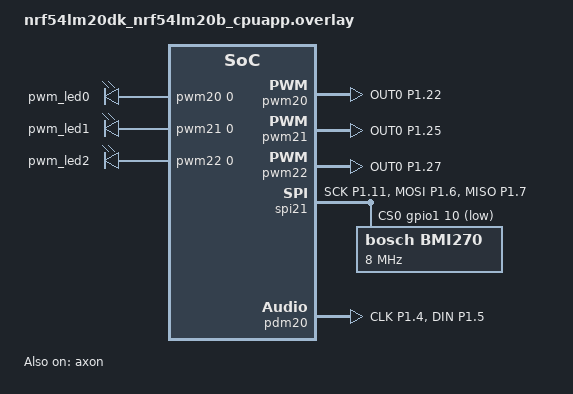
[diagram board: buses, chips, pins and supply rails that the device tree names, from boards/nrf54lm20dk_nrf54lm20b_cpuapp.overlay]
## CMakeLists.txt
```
cmake_minimum_required(VERSION 3.20.0)

find_package(Zephyr REQUIRED HINTS $ENV{ZEPHYR_BASE})
project(game_controller)

target_sources(app PRIVATE
  src/main.c
  src/hw_modules/button.c
  src/gesture/imu/imu.c

  src/ble/ble_nus.c

  src/engine/engine_controller.c
  src/engine/kws_engine.c
  src/engine/gesture_engine.c

  src/gesture/gesture.c
  src/gesture/inference_postprocessing.c
  src/gesture/nrf_edgeai_generated/nrf54lm20dk/Axon/nrf_edgeai_user_model.c

  src/kws/dmic.c
  src/kws/kws.c
  src/kws/nrf_edgeai_generated/nrf_edgeai_user_model.c
)

# dmic.h / kws.h are referenced as "dmic.h" / "kws.h" from within src/kws;
# common.h is referenced from button.c and the imu module.
target_include_directories(app PRIVATE src src/kws)
target_include_directories(app PRIVATE src/hw_modules)
target_include_directories(app PRIVATE src/gesture/imu)
```

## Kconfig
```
#
# Copyright (c) 2026 Nordic Semiconductor ASA
#
# SPDX-License-Identifier: LicenseRef-Nordic-5-Clause
#

menu "Game controller application"

config KWS_EMA_ALPHA
	int "Exponential moving average coefficient for class probability"
	range 0 1000
	default 120
	help
	  Coefficient for new entries in exponential moving average calculation for average class
	  probability. The value is expressed in units of 1/1000.

endmenu

source "Kconfig.zephyr"
```

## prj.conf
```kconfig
#
# Copyright (c) 2026 Nordic Semiconductor ASA
#
# SPDX-License-Identifier: LicenseRef-Nordic-5-Clause
#

# nRF Edge AI
CONFIG_NRF_EDGEAI=y

# nRF Edge AI dependencies
CONFIG_NRF_AXON=y
CONFIG_NEWLIB_LIBC=y
CONFIG_NEWLIB_LIBC_FLOAT_PRINTF=y
CONFIG_FPU=y

# Size of interlayer buffer to fit the KWS model (see nrf_edgeai_user_model_axon.h)
CONFIG_NRF_AXON_INTERLAYER_BUFFER_SIZE=6656
CONFIG_NRF_AXON_PSUM_BUFFER_SIZE=0

# DMIC microphone
CONFIG_AUDIO=y
CONFIG_AUDIO_DMIC=y

# Logging and assert
CONFIG_LOG=y
CONFIG_CONSOLE=y
CONFIG_LOG_MODE_DEFERRED=y
CONFIG_SERIAL=y
CONFIG_ASSERT=y
CONFIG_LOG_DEFAULT_LEVEL=3
CONFIG_AUDIO_DMIC_LOG_LEVEL_WRN=y

# Keep printk off the deferred-log path so the "Keyword spotted: X" control
# line is emitted synchronously (low latency for the serial game controller).
CONFIG_LOG_PRINTK=n

# On the dongle the console runs over USB CDC ACM; silence the udc_dwc2 INFO
# spam so it does not flood the log and drop application messages. (No effect on
# the DK, which has no USB device controller.)
CONFIG_UDC_DRIVER_LOG_LEVEL_WRN=y

CONFIG_SENSOR=y
CONFIG_BMI270=y
CONFIG_SENSOR_LOG_LEVEL_DBG=y

CONFIG_GPIO=y

# Bluetooth: send game commands over the Nordic UART Service (NUS)
CONFIG_BT=y
CONFIG_BT_PERIPHERAL=y
CONFIG_BT_DEVICE_NAME="Game Controller"
CONFIG_BT_NUS=y
```

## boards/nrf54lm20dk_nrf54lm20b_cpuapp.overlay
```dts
/*
 * Copyright (c) 2026 Nordic Semiconductor ASA
 *
 * SPDX-License-Identifier: LicenseRef-Nordic-5-Clause
 */

/ {
	aliases {
		pwm-led0 = &pwm_led0;
		pwm-led1 = &pwm_led1;
		pwm-led2 = &pwm_led2;
	};

	pwmleds {
		compatible = "pwm-leds";

		pwm_led0: pwm_led_0 {
			pwms = <&pwm20 0 PWM_MSEC(20) PWM_POLARITY_NORMAL>;
		};

		pwm_led1: pwm_led_1 {
			pwms = <&pwm21 0 PWM_MSEC(20) PWM_POLARITY_NORMAL>;
		};

		pwm_led2: pwm_led_2 {
			pwms = <&pwm22 0 PWM_MSEC(20) PWM_POLARITY_NORMAL>;
		};
	};
};

&pwm20 {
	status = "okay";
	pinctrl-0 = <&pwm20_default_alt>;
	pinctrl-1 = <&pwm20_sleep_alt>;
	pinctrl-names = "default", "sleep";
};

&pwm21 {
	status = "okay";
	pinctrl-0 = <&pwm21_default_alt>;
	pinctrl-1 = <&pwm21_sleep_alt>;
	pinctrl-names = "default", "sleep";
};

&pwm22 {
	status = "okay";
	pinctrl-0 = <&pwm22_default_alt>;
	pinctrl-1 = <&pwm22_sleep_alt>;
	pinctrl-names = "default", "sleep";
};

&pinctrl {
	pwm20_default_alt: pwm20_default_alt {
		group1 {
			psels = <NRF_PSEL(PWM_OUT0, 1, 22)>;
		};
	};

	pwm20_sleep_alt: pwm20_sleep_alt {
		group1 {
			psels = <NRF_PSEL(PWM_OUT0, 1, 22)>;
			low-power-enable;
		};
	};

	pwm21_default_alt: pwm21_default_alt {
		group1 {
			psels = <NRF_PSEL(PWM_OUT0, 1, 25)>;
		};
	};

	pwm21_sleep_alt: pwm21_sleep_alt {
		group1 {
			psels = <NRF_PSEL(PWM_OUT0, 1, 25)>;
			low-power-enable;
		};
	};

	pwm22_default_alt: pwm22_default_alt {
		group1 {
			psels = <NRF_PSEL(PWM_OUT0, 1, 27)>;
		};
	};

	pwm22_sleep_alt: pwm22_sleep_alt {
		group1 {
			psels = <NRF_PSEL(PWM_OUT0, 1, 27)>;
			low-power-enable;
		};
	};

	spi21_default: spi21_default {
		group1 {
			psels = <NRF_PSEL(SPIM_SCK, 1, 11)>,
				<NRF_PSEL(SPIM_MOSI, 1, 6)>,
				<NRF_PSEL(SPIM_MISO, 1, 7)>;
		};
	};

	spi21_sleep: spi21_sleep {
		group1 {
			psels = <NRF_PSEL(SPIM_SCK, 1, 11)>,
				<NRF_PSEL(SPIM_MOSI, 1, 6)>,
				<NRF_PSEL(SPIM_MISO, 1, 7)>;
			low-power-enable;
		};
	};

	pdm20_default_alt: pdm20_default_alt {
		group1 {
			psels = <NRF_PSEL(PDM_CLK, 1, 4)>,
				<NRF_PSEL(PDM_DIN, 1, 5)>;
		};
	};
};

&gpio3 {
	status = "okay";
};

&gpio1 {
	status = "okay";
};

&spi21 {
	compatible = "nordic,nrf-spim";
	status = "okay";
	pinctrl-0 = <&spi21_default>;
	pinctrl-1 = <&spi21_sleep>;
	pinctrl-names = "default", "sleep";
	cs-gpios = <&gpio1 10 GPIO_ACTIVE_LOW>;

	bmi270: spi-dev-bmi270@0 {
		compatible = "bosch,bmi270";
		status = "okay";
		reg = <0>;
		spi-max-frequency = <DT_FREQ_M(8)>;
		//irq-gpios = <&gpio3 2 (GPIO_ACTIVE_HIGH | GPIO_PULL_DOWN)>;
	};
};

dmic_dev: &pdm20 {
	status = "okay";
	pinctrl-0 = <&pdm20_default_alt>;
	pinctrl-names = "default";
	clock-source = "PCLK32M";
};

&axon {
	status = "okay";
};
```

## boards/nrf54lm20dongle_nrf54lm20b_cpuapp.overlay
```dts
/*
 * Copyright (c) 2026 Nordic Semiconductor ASA
 *
 * SPDX-License-Identifier: LicenseRef-Nordic-5-Clause
 */

&pinctrl {
	pdm20_default_alt: pdm20_default_alt {
		group1 {
			psels = <NRF_PSEL(PDM_CLK, 1, 4)>,
				<NRF_PSEL(PDM_DIN, 1, 5)>;
		};
	};

	spi22_default_alt: spi22_default_alt {
		group1 {
			psels = <NRF_PSEL(SPIM_SCK, 1, 8)>,
				<NRF_PSEL(SPIM_MOSI, 1, 9)>,
				<NRF_PSEL(SPIM_MISO, 1, 6)>;
		};
	};

	spi22_sleep_alt: spi22_sleep_alt {
		group1 {
			psels = <NRF_PSEL(SPIM_SCK, 1, 8)>,
				<NRF_PSEL(SPIM_MOSI, 1, 9)>,
				<NRF_PSEL(SPIM_MISO, 1, 6)>;
			low-power-enable;
		};
	};
};

&gpio0 {
	status = "okay";
};

&gpio1 {
	status = "okay";
};

/* DMIC (PDM microphone) for the KWS engine. Same wiring as ww_kws on the
 * dongle: CLK on P1.04 (P2 edge pin 7), DIN on P1.05 (P2 edge pin 8).
 */
dmic_dev: &pdm20 {
	status = "okay";
	pinctrl-0 = <&pdm20_default_alt>;
	pinctrl-names = "default";
	clock-source = "PCLK32M";
};

/* BMI270 for the gesture engine. Declared only so the gesture sources compile
 * (imu.c uses DEVICE_DT_GET_ONE(bosch_bmi270)). The sensor is not wired on the
 * dongle, so the gesture engine's init fails at runtime. Instance 21 is I2C on
 * the dongle, so SPI22 is used here with otherwise-unused pins.
 */
&spi22 {
	compatible = "nordic,nrf-spim";
	status = "okay";
	pinctrl-0 = <&spi22_default_alt>;
	pinctrl-1 = <&spi22_sleep_alt>;
	pinctrl-names = "default", "sleep";
	cs-gpios = <&gpio0 3 GPIO_ACTIVE_LOW>;

	bmi270: spi-dev-bmi270@0 {
		compatible = "bosch,bmi270";
		status = "okay";
		reg = <0>;
		spi-max-frequency = <DT_FREQ_M(8)>;
	};
};

&axon {
	status = "okay";
};
```

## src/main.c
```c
/*
 * Copyright (c) 2026 Nordic Semiconductor ASA
 *
 * SPDX-License-Identifier: LicenseRef-Nordic-5-Clause
 *
 * @brief Game controller entry point.
 *
 * Brings up the inference engines and the button, then hands control to the
 * engine controller. A short button click switches between engines (KWS and
 * gesture recognition); each engine owns its own model and acquisition path.
 */

#include <zephyr/logging/log.h>

#include "ble/ble_nus.h"
#include "hw_modules/button.h"
#include "engine/engine_controller.h"

LOG_MODULE_REGISTER(main);

static void on_button_click(button_click_t click)
{
	if (click == BUTTON_CLICK_SHORT) {
		engine_request_switch();
	} else {
		LOG_INF("Long click (no action yet)");
	}
}

int main(void)
{
	int err;

	err = engine_controller_init();
	if (err) {
		LOG_ERR("Engine controller init failed (err %d)", err);
		return err;
	}

	err = button_init();
	if (err) {
		LOG_ERR("Button init failed (err %d)", err);
		return err;
	}
	button_reg_click_handler(on_button_click);

	err = ble_nus_init();
	if (err) {
		LOG_ERR("BLE NUS init failed (err %d)", err);
		return err;
	}

	/* 	Runs the active engine and switches between them on request
		Function is a while loop. */
	engine_controller_run();

	return 0;
}
```

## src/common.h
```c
/*
 * Copyright (c) 2026 Nordic Semiconductor ASA
 *
 * SPDX-License-Identifier: LicenseRef-Nordic-5-Clause
 */

/**
 *
 * @defgroup common Common
 * @{
 * @ingroup hw_modules
 *
 * @brief Common useful utils, types and macro.
 *
 */
#ifndef __COMMON_H__
#define __COMMON_H__

#include <stdint.h>
#include <string.h>
#include <stdbool.h>

#ifdef __cplusplus
extern "C" {
#endif /* __cplusplus */

/**
 * @brief Macro for checking argument for NULL.
 *        Macro will call return with the status STATUS_NULL_ARGUMENT.
 *
 * @param[in]   x  Argument to be checked.
 *
 */
#define NULL_CHECK(x)					\
	do {						\
		if ((x) == NULL) {			\
			return STATUS_NULL_ARGUMENT;	\
		}					\
	} while (0)

/**
 * @brief Macro for verifying that the provided argumets is valid. It will cause the exterior
 *        function to return an error code if it is not @ref STATUS_INVALID_ARGUMENT.
 *
 * @param[in] is_valid     boolean comparison on the validity of the argument.
 */
#define VERIFY_VALID_ARG(is_valid)			\
do {							\
	if (!(is_valid)) {				\
		return STATUS_INVALID_ARGUMENT;		\
	}						\
} while (0)

/**
 * @brief Macro for verifying any boolean condition and returning status if condition failed
 *
 * @param[in] err_cond    boolean condition to be checked.
 * @param[in] err         Return status if condition failed.
 */
#define HW_RETURN_IF(err_cond, err) __RETURN_CONDITIONAL(err_cond, err)

/**
 * @brief Return if expr == true.
 *
 * @param[in]   expr    Expression for validating.
 * @param[in]   ret_val Returning value.
 */
#ifndef __RETURN_CONDITIONAL
#    define __RETURN_CONDITIONAL(expr, ret_val)		\
		do {					\
			if ((expr) == true) {		\
				return ret_val;		\
			}				\
		}					\
		while (0)
#endif

/** Generic callback type */
typedef void(*generic_cb_t)(void);

/** Base interrupt request handler type */
typedef generic_cb_t irq_handler_t;

/**
 * @brief Base async data ready callback type
 *
 * @param[in] data        A pointer to the data buffer that was passed to the async function
 * @param[in] data_size   Size of data that was passed to the async function, in bytes
 */
typedef void(*async_drdy_cb_t)(void *data, uint32_t data_size);

/**
 * Generic HW modules operation status code
 *
 * This enumeration is used by various HW modules to provide
 * information on their status. It may also be used by functions as a
 * return code.
 */
typedef enum status_e {
	/** Operation successful */
	STATUS_SUCCESS,

	/** The operation failed because the module is already in the requested mode */
	STATUS_ALREADY_IN_MODE,

	/** There was an error communicating with hardware */
	STATUS_HARDWARE_ERROR,

	/** The operation failed with an unspecified error */
	STATUS_UNSPECIFIED_ERROR,

	/** The argument supplied to the operation was invalid */
	STATUS_INVALID_ARGUMENT,

	/** The argument supplied to the operation was NULL */
	STATUS_NULL_ARGUMENT,

	/** The operation failed because the module was busy */
	STATUS_BUSY,

	/** The requested operation was not available */
	STATUS_UNAVAILABLE,

	/** The operation or service not supported */
	STATUS_NOT_SUPPORTED,

	/** The requested operation timeout */
	STATUS_TIMEOUT,
} status_t;

#ifdef __cplusplus
}
#endif /* __cplusplus */


#endif /* __COMMON_H__ */

/**
 * @}
 */
```
